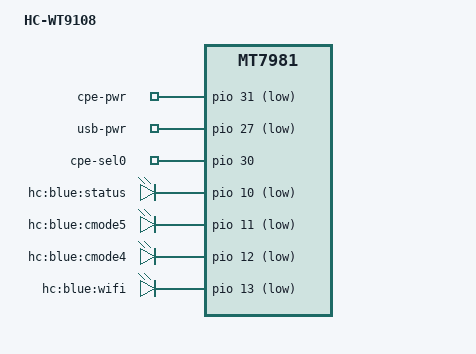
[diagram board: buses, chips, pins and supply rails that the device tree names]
/dts-v1/;

#include "mt7981-nradio-emmc.dtsi"

/ {
	model = "HC-WT9108";

	aliases {
		led-boot = &led_status;
		led-failsafe = &led_status;
		led-running = &led_status;
		led-upgrade = &led_status;
	};

	gpio_export {
		compatible = "gpio-export";
		#size-cells = <0>;

		cpepower {
			gpio-export,name = "cpe-pwr";
			gpio-export,output = <0>;
			gpios = <&pio 31 GPIO_ACTIVE_LOW>;
		};

		usbpower {
			gpio-export,name = "usb-pwr";
			gpio-export,output = <0>;
			gpios = <&pio 27 GPIO_ACTIVE_LOW>;
		};

		cpesel0 {
			gpio-export,name = "cpe-sel0";
			gpio-export,output = <1>;
			gpios = <&pio 30 GPIO_ACTIVE_HIGH>;
		};
	};

	gpio-leds {
		compatible = "gpio-leds";

		led_status: status {
			label = "hc:blue:status";
			gpios = <&pio 10 GPIO_ACTIVE_LOW>;
		};

		cmode5 {
			label = "hc:blue:cmode5";
			gpios = <&pio 11 GPIO_ACTIVE_LOW>;
		};

		cmode4 {
			label = "hc:blue:cmode4";
			gpios = <&pio 12 GPIO_ACTIVE_LOW>;
		};

		wifi {
			label = "hc:blue:wifi";
			gpios = <&pio 13 GPIO_ACTIVE_LOW>;
		};
	};
};
